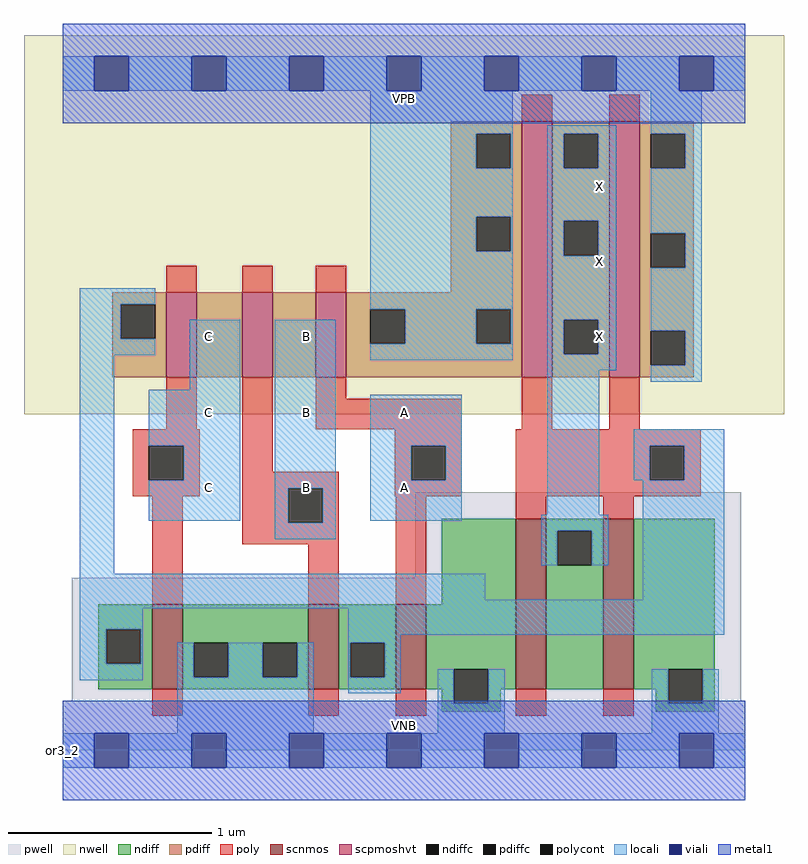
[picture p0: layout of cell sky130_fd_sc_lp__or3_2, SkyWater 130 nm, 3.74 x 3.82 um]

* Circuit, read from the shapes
.subckt sky130_fd_sc_lp__or3_2 A B C VGND VNB VPB VPWR X
XM1 VGND C n1 VNB sky130_fd_pr__nfet_01v8 w=0.42 l=0.15
XM2 n1 B VGND VNB sky130_fd_pr__nfet_01v8 w=0.42 l=0.15
XM3 VGND A n1 VNB sky130_fd_pr__nfet_01v8 w=0.42 l=0.15
XM4 X n1 VGND VNB sky130_fd_pr__nfet_01v8 w=0.84 l=0.15 m=2
XM5 n2 C n1 VPB sky130_fd_pr__pfet_01v8_hvt w=0.42 l=0.15
XM6 n3 B n2 VPB sky130_fd_pr__pfet_01v8_hvt w=0.42 l=0.15
XM7 VPWR A n3 VPB sky130_fd_pr__pfet_01v8_hvt w=0.42 l=0.15
XM8 X n1 VPWR VPB sky130_fd_pr__pfet_01v8_hvt w=1.26 l=0.15 m=2
.ends

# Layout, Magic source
magic
tech sky130A
magscale 1 2
<< nwell >>
rect -38 331 710 704
<< pwell >>
rect 347 170 668 254
rect 9 49 668 170
rect 0 0 672 49
<< scnmos >>
rect 88 60 118 144
rect 242 60 272 144
rect 328 60 358 144
rect 446 60 476 228
rect 532 60 562 228
<< scpmoshvt >>
rect 102 367 132 451
rect 177 367 207 451
rect 249 367 279 451
rect 452 367 482 619
rect 538 367 568 619
<< ndiff >>
rect 373 144 446 228
rect 35 119 88 144
rect 35 85 43 119
rect 77 85 88 119
rect 35 60 88 85
rect 118 106 242 144
rect 118 72 129 106
rect 163 72 197 106
rect 231 72 242 106
rect 118 60 242 72
rect 272 106 328 144
rect 272 72 283 106
rect 317 72 328 106
rect 272 60 328 72
rect 358 80 446 144
rect 358 60 385 80
rect 373 46 385 60
rect 419 60 446 80
rect 476 216 532 228
rect 476 182 487 216
rect 521 182 532 216
rect 476 60 532 182
rect 562 80 642 228
rect 562 60 596 80
rect 419 46 431 60
rect 373 38 431 46
rect 584 46 596 60
rect 630 46 642 80
rect 584 38 642 46
<< pdiff >>
rect 382 607 452 619
rect 382 573 407 607
rect 441 573 452 607
rect 382 525 452 573
rect 382 491 407 525
rect 441 491 452 525
rect 382 451 452 491
rect 49 439 102 451
rect 49 405 57 439
rect 91 405 102 439
rect 49 367 102 405
rect 132 367 177 451
rect 207 367 249 451
rect 279 434 452 451
rect 279 400 303 434
rect 337 400 407 434
rect 441 400 452 434
rect 279 367 452 400
rect 482 607 538 619
rect 482 573 493 607
rect 527 573 538 607
rect 482 521 538 573
rect 482 487 493 521
rect 527 487 538 521
rect 482 424 538 487
rect 482 390 493 424
rect 527 390 538 424
rect 482 367 538 390
rect 568 607 621 619
rect 568 573 579 607
rect 613 573 621 607
rect 568 509 621 573
rect 568 475 579 509
rect 613 475 621 509
rect 568 413 621 475
rect 568 379 579 413
rect 613 379 621 413
rect 568 367 621 379
<< ndiffc >>
rect 43 85 77 119
rect 129 72 163 106
rect 197 72 231 106
rect 283 72 317 106
rect 385 46 419 80
rect 487 182 521 216
rect 596 46 630 80
<< pdiffc >>
rect 407 573 441 607
rect 407 491 441 525
rect 57 405 91 439
rect 303 400 337 434
rect 407 400 441 434
rect 493 573 527 607
rect 493 487 527 521
rect 493 390 527 424
rect 579 573 613 607
rect 579 475 613 509
rect 579 379 613 413
<< poly >>
rect 452 619 482 645
rect 538 619 568 645
rect 102 451 132 477
rect 177 451 207 477
rect 249 451 279 477
rect 102 316 132 367
rect 69 300 135 316
rect 69 266 85 300
rect 119 266 135 300
rect 69 250 135 266
rect 177 274 207 367
rect 249 346 279 367
rect 249 316 393 346
rect 452 316 482 367
rect 538 316 568 367
rect 327 300 393 316
rect 177 258 272 274
rect 88 144 118 250
rect 177 224 222 258
rect 256 224 272 258
rect 327 266 343 300
rect 377 266 393 300
rect 327 250 393 266
rect 446 300 628 316
rect 446 266 578 300
rect 612 266 628 300
rect 446 250 628 266
rect 177 203 272 224
rect 242 144 272 203
rect 328 144 358 250
rect 446 228 476 250
rect 532 228 562 250
rect 88 34 118 60
rect 242 34 272 60
rect 328 34 358 60
rect 446 34 476 60
rect 532 34 562 60
<< polycont >>
rect 85 266 119 300
rect 222 224 256 258
rect 343 266 377 300
rect 578 266 612 300
<< locali >>
rect 0 649 31 683
rect 65 649 127 683
rect 161 649 223 683
rect 257 649 319 683
rect 353 649 415 683
rect 449 649 511 683
rect 545 649 607 683
rect 641 649 672 683
rect 303 607 443 649
rect 303 573 407 607
rect 441 573 443 607
rect 303 525 443 573
rect 303 491 407 525
rect 441 491 443 525
rect 17 439 91 455
rect 17 405 57 439
rect 303 434 443 491
rect 17 389 91 405
rect 17 174 51 389
rect 125 355 175 424
rect 85 300 175 355
rect 119 266 175 300
rect 85 226 175 266
rect 209 258 269 424
rect 337 400 407 434
rect 441 400 443 434
rect 303 384 443 400
rect 477 607 545 615
rect 477 573 493 607
rect 527 573 545 607
rect 477 521 545 573
rect 477 487 493 521
rect 527 487 545 521
rect 477 424 545 487
rect 477 390 493 424
rect 527 390 545 424
rect 477 374 545 390
rect 579 607 629 649
rect 613 573 629 607
rect 579 509 629 573
rect 613 475 629 509
rect 579 413 629 475
rect 613 379 629 413
rect 209 224 222 258
rect 256 224 269 258
rect 303 300 393 350
rect 303 266 343 300
rect 377 266 393 300
rect 303 226 393 266
rect 477 232 528 374
rect 579 363 629 379
rect 562 300 651 316
rect 562 266 578 300
rect 612 266 651 300
rect 209 208 269 224
rect 471 216 537 232
rect 471 182 487 216
rect 521 182 537 216
rect 17 148 416 174
rect 571 148 651 266
rect 17 140 651 148
rect 17 119 79 140
rect 17 85 43 119
rect 77 85 79 119
rect 281 114 651 140
rect 281 106 333 114
rect 17 69 79 85
rect 113 72 129 106
rect 163 72 197 106
rect 231 72 247 106
rect 113 17 247 72
rect 281 72 283 106
rect 317 72 333 106
rect 281 56 333 72
rect 369 46 385 80
rect 419 46 435 80
rect 369 17 435 46
rect 580 46 596 80
rect 630 46 646 80
rect 580 17 646 46
rect 0 -17 31 17
rect 65 -17 127 17
rect 161 -17 223 17
rect 257 -17 319 17
rect 353 -17 415 17
rect 449 -17 511 17
rect 545 -17 607 17
rect 641 -17 672 17
<< viali >>
rect 31 649 65 683
rect 127 649 161 683
rect 223 649 257 683
rect 319 649 353 683
rect 415 649 449 683
rect 511 649 545 683
rect 607 649 641 683
rect 31 -17 65 17
rect 127 -17 161 17
rect 223 -17 257 17
rect 319 -17 353 17
rect 415 -17 449 17
rect 511 -17 545 17
rect 607 -17 641 17
<< metal1 >>
rect 0 683 672 715
rect 0 649 31 683
rect 65 649 127 683
rect 161 649 223 683
rect 257 649 319 683
rect 353 649 415 683
rect 449 649 511 683
rect 545 649 607 683
rect 641 649 672 683
rect 0 617 672 649
rect 0 17 672 49
rect 0 -17 31 17
rect 65 -17 127 17
rect 161 -17 223 17
rect 257 -17 319 17
rect 353 -17 415 17
rect 449 -17 511 17
rect 545 -17 607 17
rect 641 -17 672 17
rect 0 -49 672 -17
<< labels >>
flabel pwell s 0 0 672 49 0 FreeSans 200 0 0 0 VNB
port 5 nsew ground bidirectional
flabel nwell s 0 617 672 666 0 FreeSans 200 0 0 0 VPB
port 6 nsew power bidirectional
rlabel comment s 0 0 0 0 4 or3_2
flabel metal1 s 0 617 672 666 0 FreeSans 340 0 0 0 VPWR
port 7 nsew power bidirectional
flabel metal1 s 0 0 672 49 0 FreeSans 340 0 0 0 VGND
port 4 nsew ground bidirectional
flabel locali s 511 390 545 424 0 FreeSans 340 0 0 0 X
port 8 nsew signal output
flabel locali s 319 242 353 276 0 FreeSans 340 0 0 0 A
port 1 nsew signal input
flabel locali s 319 316 353 350 0 FreeSans 340 0 0 0 A
port 1 nsew signal input
flabel locali s 223 242 257 276 0 FreeSans 340 0 0 0 B
port 2 nsew signal input
flabel locali s 223 316 257 350 0 FreeSans 340 0 0 0 B
port 2 nsew signal input
flabel locali s 223 390 257 424 0 FreeSans 340 0 0 0 B
port 2 nsew signal input
flabel locali s 127 242 161 276 0 FreeSans 340 0 0 0 C
port 3 nsew signal input
flabel locali s 127 316 161 350 0 FreeSans 340 0 0 0 C
port 3 nsew signal input
flabel locali s 127 390 161 424 0 FreeSans 340 0 0 0 C
port 3 nsew signal input
flabel locali s 511 538 545 572 0 FreeSans 340 0 0 0 X
port 8 nsew signal output
flabel locali s 511 464 545 498 0 FreeSans 340 0 0 0 X
port 8 nsew signal output
<< properties >>
string LEFsite unit
string LEFclass CORE
string FIXED_BBOX 0 0 672 666
string GDS_FILE $PDKPATH/libs.ref/sky130_fd_sc_lp/gds/sky130_fd_sc_lp.gds
string LEFsymmetry X Y R90
string GDS_END 3209416
string GDS_START 3202962
<< end >>
